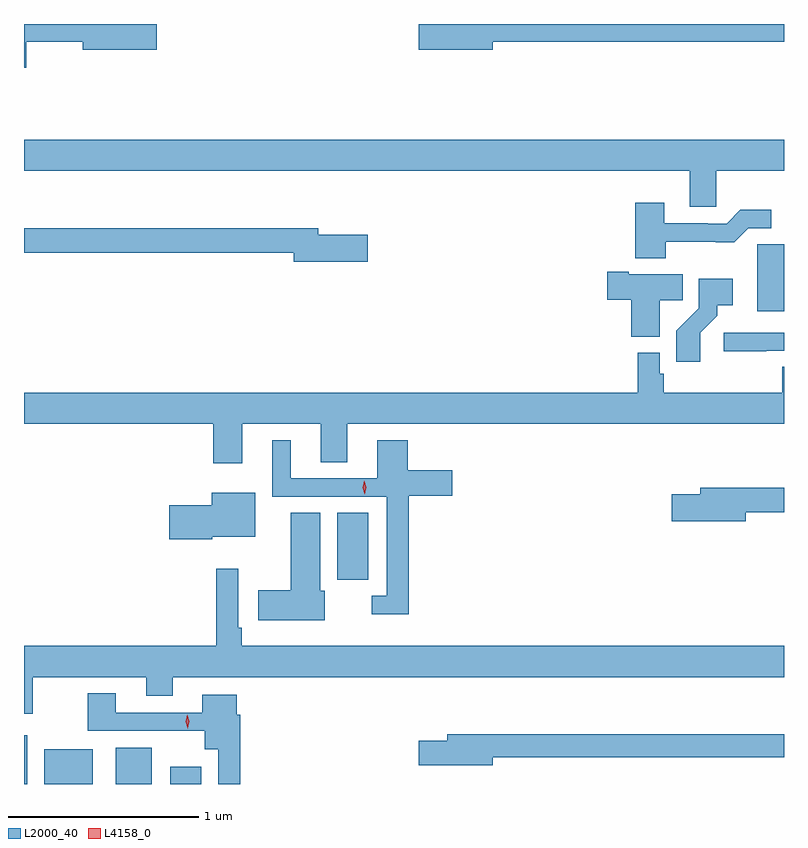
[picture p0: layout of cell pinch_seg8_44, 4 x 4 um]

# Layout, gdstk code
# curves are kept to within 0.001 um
import gdstk
lib = gdstk.Library(unit=1e-6, precision=1e-09)
def R(c, l, rs):  # rectangles x0, y0, x1, y1
    for r in rs: c.add(gdstk.rectangle(r[:2], r[2:], *l))
def P(c, l, *ps):  # polygons
    for p in ps: c.add(gdstk.Polygon(p, *l))
L2000_40 = (2000, 40)
L4158_0 = (4158, 0)

pinch_seg8_44 = lib.new_cell('pinch_seg8_44')
R(pinch_seg8_44, L2000_40, [(983.77,1150.569,983.788,1150.825), (983.876,1150.569,984.133,1150.753), (984.254,1150.569,984.442,1150.759), (984.539,1150.569,984.703,1150.66), (985.418,1151.643,985.582,1151.996)])
P(pinch_seg8_44, L2000_40, [(986.236,1154.476),(987.77,1154.476),(987.77,1154.569),(985.848,1154.569),(985.848,1154.434),(986.236,1154.434)],
  [(983.782,1154.476),(984.08,1154.476),(984.08,1154.434),(984.469,1154.434),(984.469,1154.569),(983.77,1154.569),(983.77,1154.339),(983.782,1154.339)],
  [(987.414,1153.796),(987.77,1153.796),(987.77,1153.96),(983.77,1153.96),(983.77,1153.796),(987.275,1153.796),(987.275,1153.606),(987.414,1153.606)],
  [(987.147,1153.422),(987.509,1153.421),(987.582,1153.494),(987.703,1153.494),(987.703,1153.591),(987.541,1153.591),(987.468,1153.518),(987.368,1153.518),(987.368,1153.521),(987.139,1153.521),(987.139,1153.627),(986.987,1153.627),(986.987,1153.337),(987.147,1153.337)],
  [(985.579,1153.461),(985.318,1153.461),(985.318,1153.495),(983.77,1153.495),(983.77,1153.366),(985.19,1153.366),(985.19,1153.319),(985.579,1153.319)],
  [(987.77,1153.409),(987.63,1153.409),(987.63,1153.298),(987.629,1153.298),(987.629,1153.056),(987.77,1153.056)],
  [(987.115,1153.114),(987.236,1153.114),(987.236,1153.252),(986.953,1153.252),(986.953,1153.264),(986.841,1153.264),(986.841,1153.118),(986.966,1153.118),(986.966,1152.923),(987.115,1152.923)],
  [(987.328,1152.943),(987.418,1153.033),(987.418,1153.088),(987.499,1153.088),(987.499,1153.228),(987.321,1153.228),(987.321,1153.073),(987.202,1152.954),(987.202,1152.792),(987.328,1152.792)],
  [(987.677,1152.849),(987.77,1152.849),(987.77,1152.945),(987.453,1152.945),(987.453,1152.847),(987.677,1152.847)],
  [(984.919,1152.464),(985.331,1152.464),(985.331,1152.262),(985.471,1152.262),(985.471,1152.464),(987.77,1152.464),(987.77,1152.764),(987.761,1152.764),(987.761,1152.628),(987.137,1152.628),(987.137,1152.729),(987.117,1152.729),(987.117,1152.838),(987.001,1152.838),(987.001,1152.628),(983.77,1152.628),(983.77,1152.464),(984.767,1152.464),(984.767,1152.258),(984.919,1152.258)],
  [(985.796,1152.086),(986.023,1152.086),(986.023,1152.22),(985.79,1152.22),(985.79,1152.379),(985.628,1152.379),(985.628,1152.177),(985.174,1152.177),(985.174,1152.379),(985.076,1152.379),(985.076,1152.081),(985.68,1152.081),(985.68,1151.559),(985.599,1151.559),(985.599,1151.462),(985.796,1151.462)],
  [(987.568,1151.998),(987.77,1151.998),(987.77,1152.127),(987.329,1152.127),(987.329,1152.093),(987.18,1152.093),(987.18,1151.951),(987.568,1151.951)],
  [(984.762,1151.87),(984.988,1151.87),(984.988,1152.103),(984.758,1152.103),(984.758,1152.036),(984.534,1152.036),(984.534,1151.858),(984.762,1151.858)],
  [(985.354,1151.586),(985.33,1151.586),(985.33,1151.996),(985.175,1151.996),(985.175,1151.59),(985.002,1151.59),(985.002,1151.432),(985.354,1151.432)],
  [(983.817,1151.132),(984.413,1151.132),(984.413,1151.033),(984.553,1151.033),(984.553,1151.132),(987.77,1151.132),(987.77,1151.296),(984.917,1151.296),(984.917,1151.392),(984.897,1151.392),(984.897,1151.701),(984.781,1151.701),(984.781,1151.296),(983.77,1151.296),(983.77,1150.938),(983.817,1150.938)],
  [(984.908,1150.934),(984.889,1150.934),(984.889,1151.038),(984.707,1151.038),(984.707,1150.944),(984.253,1150.944),(984.253,1151.047),(984.106,1151.047),(984.106,1150.848),(984.722,1150.848),(984.722,1150.751),(984.792,1150.751),(984.792,1150.569),(984.908,1150.569)],
  [(986.236,1150.71),(987.77,1150.71),(987.77,1150.831),(985.997,1150.831),(985.997,1150.797),(985.848,1150.797),(985.848,1150.667),(986.236,1150.667)])
P(pinch_seg8_44, L4158_0, [(984.631,1150.861),(984.631,1150.862),(984.62,1150.897),(984.628,1150.933),(984.629,1150.933),(984.629,1150.933),(984.64,1150.898),(984.631,1150.862)],
  [(985.564,1152.093),(985.564,1152.093),(985.552,1152.129),(985.56,1152.165),(985.561,1152.165),(985.561,1152.165),(985.572,1152.13),(985.564,1152.093)])

lib.write_gds('pinch_seg8_44.gds')
